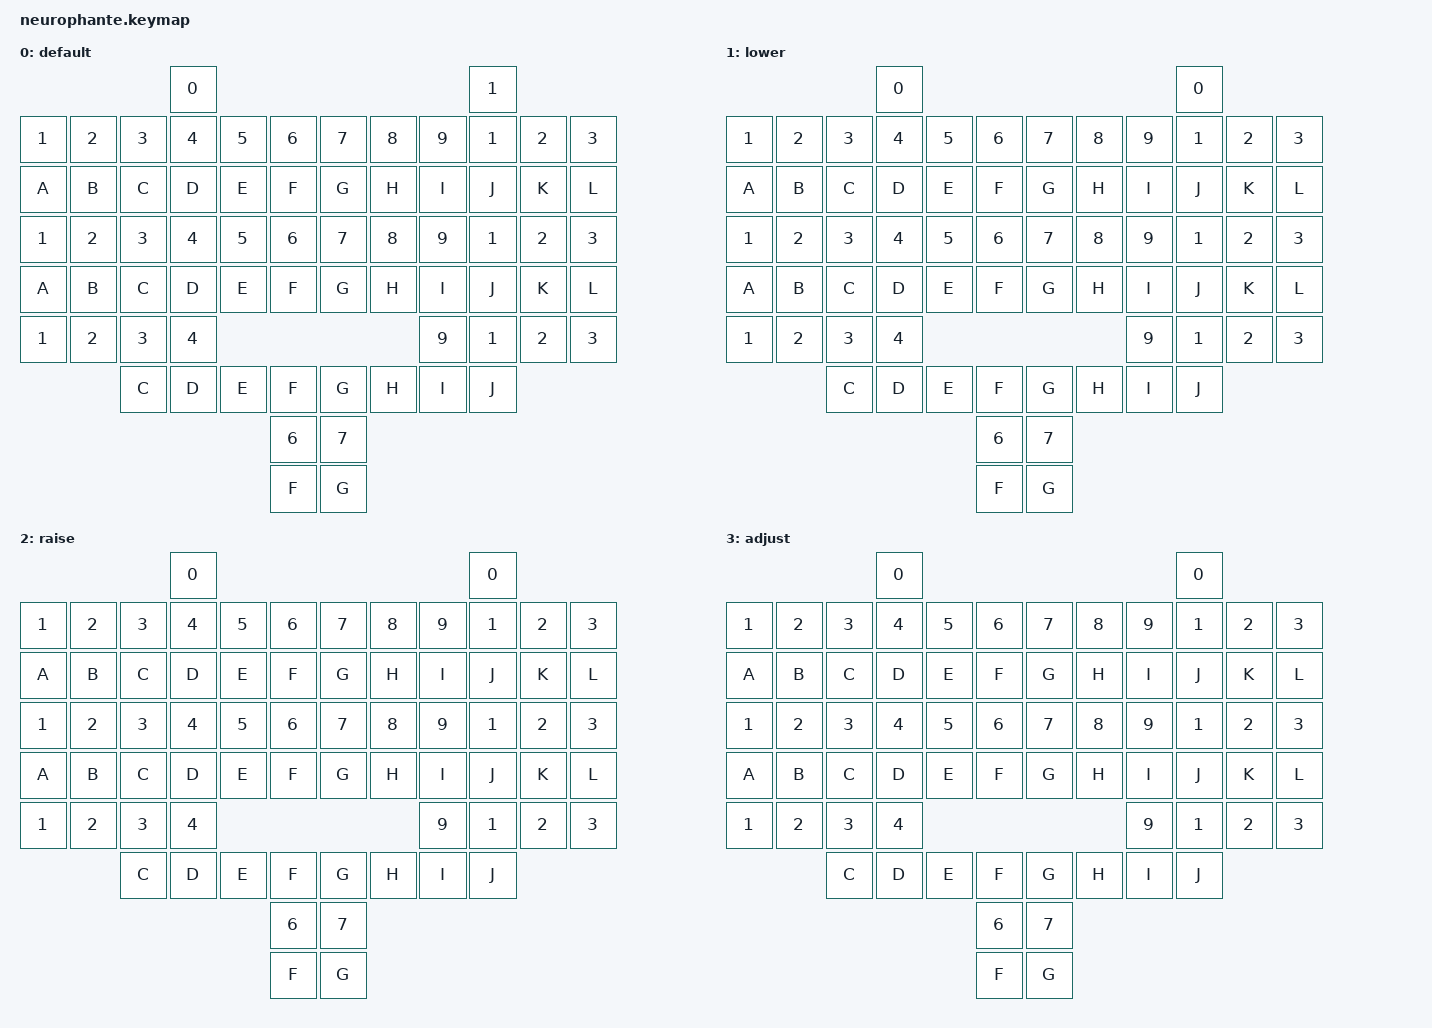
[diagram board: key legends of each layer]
/*
 * Copyright (c) 2020 The ZMK Contributors
 *
 * SPDX-License-Identifier: MIT
 */

#include <behaviors.dtsi>
#include <dt-bindings/zmk/keys.h>
#include <dt-bindings/zmk/bt.h>
#include <dt-bindings/zmk/rgb.h>
#include <dt-bindings/zmk/ext_power.h>

#define BASE 0
#define LOWER 1
#define RAISE 2
#define ADJUST 3

/ {

   // Activate ADJUST layer by pressing raise and lower
    conditional_layers {
        compatible = "zmk,conditional-layers";
        adjust_layer {
            if-layers = <LOWER RAISE>;
            then-layer = <ADJUST>;
        };
    };

    keymap {
        compatible = "zmk,keymap";

        default_layer {
            display-name = "default";
            bindings = <

                                  &kp N0                                            &kp N1
          &kp N1  &kp N2  &kp N3  &kp N4  &kp N5  &kp N6    &kp N7  &kp N8  &kp N9  &kp N1  &kp N2  &kp N3
          &kp  A  &kp  B  &kp  C  &kp  D  &kp  E  &kp  F    &kp  G  &kp  H  &kp  I  &kp  J  &kp  K  &kp  L
          &kp N1  &kp N2  &kp N3  &kp N4  &kp N5  &kp N6    &kp N7  &kp N8  &kp N9  &kp N1  &kp N2  &kp N3
          &kp  A  &kp  B  &kp  C  &kp  D  &kp  E  &kp  F    &kp  G  &kp  H  &kp  I  &kp  J  &kp  K  &kp  L
          &kp N1  &kp N2  &kp N3  &kp N4                                    &kp N9  &kp N1  &kp N2  &kp N3
                          &kp  C  &kp  D  &kp  E  &kp  F    &kp  G  &kp  H  &kp  I  &kp  J
                                                  &kp N6    &kp N7
                                                  &kp  F    &kp  G
            >;
        };

        lower_layer {
            display-name = "lower";
            bindings = <
                                  &kp N0                                            &kp N0
          &kp N1  &kp N2  &kp N3  &kp N4  &kp N5  &kp N6    &kp N7  &kp N8  &kp N9  &kp N1  &kp N2  &kp N3
          &kp  A  &kp  B  &kp  C  &kp  D  &kp  E  &kp  F    &kp  G  &kp  H  &kp  I  &kp  J  &kp  K  &kp  L
          &kp N1  &kp N2  &kp N3  &kp N4  &kp N5  &kp N6    &kp N7  &kp N8  &kp N9  &kp N1  &kp N2  &kp N3
          &kp  A  &kp  B  &kp  C  &kp  D  &kp  E  &kp  F    &kp  G  &kp  H  &kp  I  &kp  J  &kp  K  &kp  L
          &kp N1  &kp N2  &kp N3  &kp N4                                    &kp N9  &kp N1  &kp N2  &kp N3
                          &kp  C  &kp  D  &kp  E  &kp  F    &kp  G  &kp  H  &kp  I  &kp  J
                                                  &kp N6    &kp N7
                                                  &kp  F    &kp  G
            >;
        };

        raise_layer {
            display-name = "raise";
            bindings = <
                                  &kp N0                                            &kp N0
          &kp N1  &kp N2  &kp N3  &kp N4  &kp N5  &kp N6    &kp N7  &kp N8  &kp N9  &kp N1  &kp N2  &kp N3
          &kp  A  &kp  B  &kp  C  &kp  D  &kp  E  &kp  F    &kp  G  &kp  H  &kp  I  &kp  J  &kp  K  &kp  L
          &kp N1  &kp N2  &kp N3  &kp N4  &kp N5  &kp N6    &kp N7  &kp N8  &kp N9  &kp N1  &kp N2  &kp N3
          &kp  A  &kp  B  &kp  C  &kp  D  &kp  E  &kp  F    &kp  G  &kp  H  &kp  I  &kp  J  &kp  K  &kp  L
          &kp N1  &kp N2  &kp N3  &kp N4                                    &kp N9  &kp N1  &kp N2  &kp N3
                          &kp  C  &kp  D  &kp  E  &kp  F    &kp  G  &kp  H  &kp  I  &kp  J
                                                  &kp N6    &kp N7
                                                  &kp  F    &kp  G
            >;
        };

        adjust_layer {
            display-name = "adjust";
            bindings = <
                                  &kp N0                                            &kp N0
          &kp N1  &kp N2  &kp N3  &kp N4  &kp N5  &kp N6    &kp N7  &kp N8  &kp N9  &kp N1  &kp N2  &kp N3
          &kp  A  &kp  B  &kp  C  &kp  D  &kp  E  &kp  F    &kp  G  &kp  H  &kp  I  &kp  J  &kp  K  &kp  L
          &kp N1  &kp N2  &kp N3  &kp N4  &kp N5  &kp N6    &kp N7  &kp N8  &kp N9  &kp N1  &kp N2  &kp N3
          &kp  A  &kp  B  &kp  C  &kp  D  &kp  E  &kp  F    &kp  G  &kp  H  &kp  I  &kp  J  &kp  K  &kp  L
          &kp N1  &kp N2  &kp N3  &kp N4                                    &kp N9  &kp N1  &kp N2  &kp N3
                          &kp  C  &kp  D  &kp  E  &kp  F    &kp  G  &kp  H  &kp  I  &kp  J
                                                  &kp N6    &kp N7
                                                  &kp  F    &kp  G
            >;
        };
        extra1 {
            status = "reserved";
        };

        extra2 {
            status = "reserved";
        };

        extra3 {
            status = "reserved";
        };

    };
};
